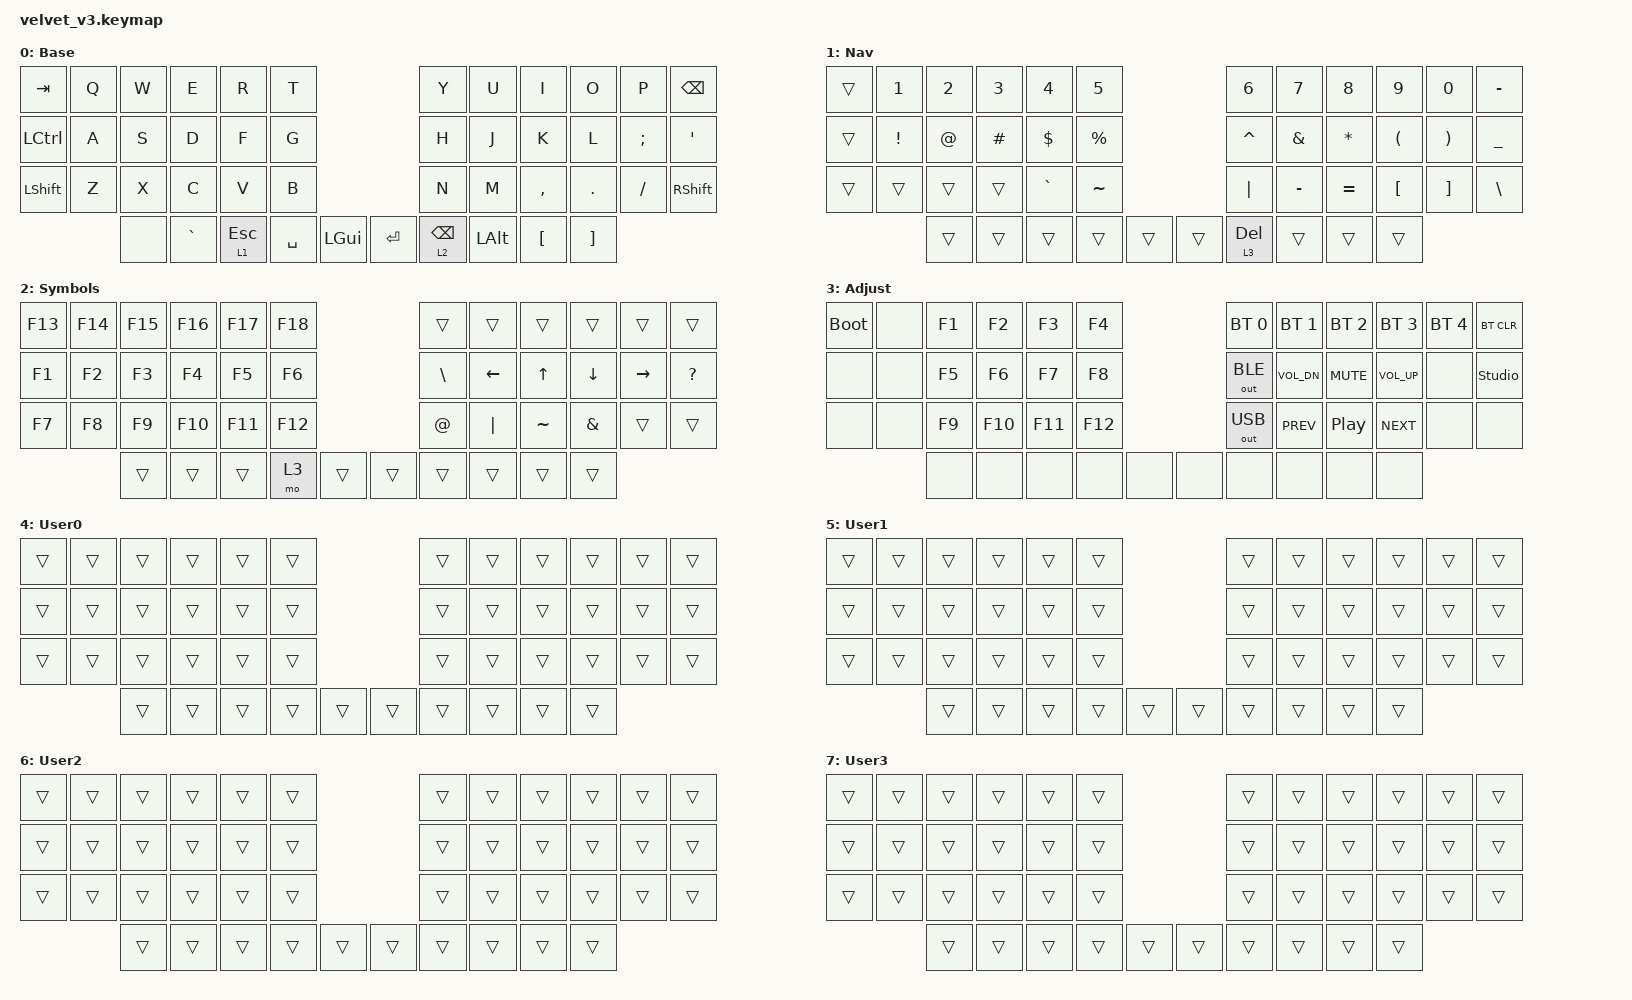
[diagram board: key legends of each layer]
#include <behaviors.dtsi>
#include <dt-bindings/zmk/bt.h>
#include <dt-bindings/zmk/keys.h>
#include <dt-bindings/zmk/outputs.h>
#include <dt-bindings/zmk/pointing.h>

/ {
    keymap {
        compatible = "zmk,keymap";

        base {
            bindings = <
&kp TAB    &kp Q  &kp W  &kp E      &kp R      &kp T                           &kp Y       &kp U     &kp I      &kp O     &kp P      &kp BSPC
&kp LCTRL  &kp A  &kp S  &kp D      &kp F      &kp G                           &kp H       &kp J     &kp K      &kp L     &kp SEMI   &kp SQT
&kp LSHFT  &kp Z  &kp X  &kp C      &kp V      &kp B                           &kp N       &kp M     &kp COMMA  &kp DOT   &kp SLASH  &kp RSHFT
                  &none  &kp GRAVE  &lt 1 ESC  &kp SPACE  &kp LGUI    &kp RET  &lt 2 BSPC  &kp LALT  &kp LBKT   &kp RBKT
            >;

            display-name = "Base";
        };

        // !@#$%^&*()_

        nav {
            bindings = <
&trans  &kp N1    &kp N2  &kp N3    &kp N4      &kp N5                         &kp N6     &kp N7     &kp N8     &kp N9                &kp N0                 &kp MINUS
&trans  &kp EXCL  &kp AT  &kp HASH  &kp DOLLAR  &kp PERCENT                    &kp CARET  &kp AMPS   &kp STAR   &kp LEFT_PARENTHESIS  &kp RIGHT_PARENTHESIS  &kp UNDER
&trans  &trans    &trans  &trans    &kp GRAVE   &kp TILDE                      &kp PIPE   &kp MINUS  &kp EQUAL  &kp LBKT              &kp RIGHT_BRACKET      &kp BACKSLASH
                  &trans  &trans    &trans      &trans       &trans    &trans  &lt 3 DEL  &trans     &trans     &trans
            >;

            display-name = "Nav";
        };

        sym {
            bindings = <
&kp F13  &kp F14  &kp F15  &kp F16  &kp F17  &kp F18                    &trans         &trans    &trans     &trans    &trans     &trans
&kp F1   &kp F2   &kp F3   &kp F4   &kp F5   &kp F6                     &kp BACKSLASH  &kp LEFT  &kp UP     &kp DOWN  &kp RIGHT  &kp QUESTION
&kp F7   &kp F8   &kp F9   &kp F10  &kp F11  &kp F12                    &kp AT         &kp PIPE  &kp TILDE  &kp AMPS  &trans     &trans
                  &trans   &trans   &trans   &mo 3    &trans    &trans  &trans         &trans    &trans     &trans
            >;

            display-name = "Symbols";
        };

        adj {
            bindings = <
&bootloader  &none  &kp F1  &kp F2   &kp F3   &kp F4                   &bt BT_SEL 0  &bt BT_SEL 1  &bt BT_SEL 2      &bt BT_SEL 3  &bt BT_SEL 4  &bt BT_CLR
&none        &none  &kp F5  &kp F6   &kp F7   &kp F8                   &out OUT_BLE  &kp C_VOL_DN  &kp C_MUTE        &kp C_VOL_UP  &none         &studio_unlock
&none        &none  &kp F9  &kp F10  &kp F11  &kp F12                  &out OUT_USB  &kp C_PREV    &kp C_PLAY_PAUSE  &kp C_NEXT    &none         &none
                    &none   &none    &none    &none    &none    &none  &none         &none         &none             &none
            >;

            display-name = "Adjust";
        };

        User0 {
            bindings = <
&trans  &trans  &trans  &trans  &trans  &trans                    &trans  &trans  &trans  &trans  &trans  &trans
&trans  &trans  &trans  &trans  &trans  &trans                    &trans  &trans  &trans  &trans  &trans  &trans
&trans  &trans  &trans  &trans  &trans  &trans                    &trans  &trans  &trans  &trans  &trans  &trans
                &trans  &trans  &trans  &trans  &trans    &trans  &trans  &trans  &trans  &trans
            >;

            display-name = "User0";
        };

        User1 {
            bindings = <
&trans  &trans  &trans  &trans  &trans  &trans                    &trans  &trans  &trans  &trans  &trans  &trans
&trans  &trans  &trans  &trans  &trans  &trans                    &trans  &trans  &trans  &trans  &trans  &trans
&trans  &trans  &trans  &trans  &trans  &trans                    &trans  &trans  &trans  &trans  &trans  &trans
                &trans  &trans  &trans  &trans  &trans    &trans  &trans  &trans  &trans  &trans
            >;

            display-name = "User1";
        };

        User2 {
            bindings = <
&trans  &trans  &trans  &trans  &trans  &trans                    &trans  &trans  &trans  &trans  &trans  &trans
&trans  &trans  &trans  &trans  &trans  &trans                    &trans  &trans  &trans  &trans  &trans  &trans
&trans  &trans  &trans  &trans  &trans  &trans                    &trans  &trans  &trans  &trans  &trans  &trans
                &trans  &trans  &trans  &trans  &trans    &trans  &trans  &trans  &trans  &trans
            >;

            display-name = "User2";
        };

        User3 {
            bindings = <
&trans  &trans  &trans  &trans  &trans  &trans                    &trans  &trans  &trans  &trans  &trans  &trans
&trans  &trans  &trans  &trans  &trans  &trans                    &trans  &trans  &trans  &trans  &trans  &trans
&trans  &trans  &trans  &trans  &trans  &trans                    &trans  &trans  &trans  &trans  &trans  &trans
                &trans  &trans  &trans  &trans  &trans    &trans  &trans  &trans  &trans  &trans
            >;

            display-name = "User3";
        };
    };
};
